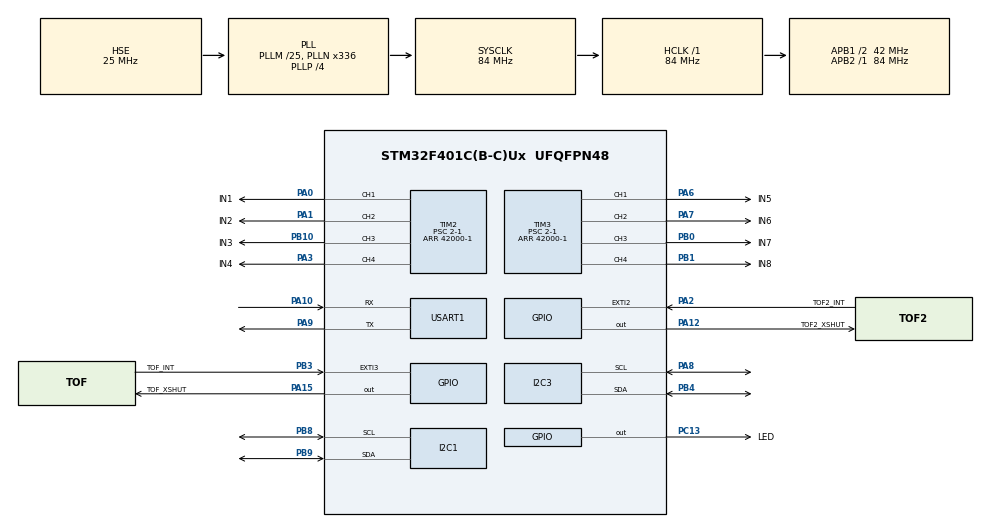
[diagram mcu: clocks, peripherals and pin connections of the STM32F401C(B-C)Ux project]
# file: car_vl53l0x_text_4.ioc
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I2C1.I2C_Mode=I2C_Fast
I2C3.I2C_Mode=I2C_Fast
Mcu.Family=STM32F4
Mcu.Name=STM32F401C(B-C)Ux
Mcu.Package=UFQFPN48
NVIC.EXTI2_IRQn=true\:1\:0\:true\:false\:true\:true\:true
NVIC.EXTI3_IRQn=true\:2\:0\:true\:true\:true\:1\:true\:true
NVIC.I2C1_ER_IRQn=true\:0\:0\:false\:false\:true\:true\:true
NVIC.I2C1_EV_IRQn=true\:0\:0\:false\:false\:true\:true\:true
NVIC.I2C3_ER_IRQn=true\:0\:0\:false\:false\:true\:true\:true
NVIC.I2C3_EV_IRQn=true\:0\:0\:false\:false\:true\:true\:true
NVIC.PriorityGroup=NVIC_PRIORITYGROUP_4
NVIC.TIM2_IRQn=true\:0\:0\:false\:false\:true\:true\:true
NVIC.TIM3_IRQn=true\:0\:0\:false\:false\:true\:true\:true
NVIC.USART1_IRQn=true\:0\:0\:false\:false\:true\:true\:true
PA0-WKUP.GPIO_Label=IN1
PA0-WKUP.GPIO_PuPd=GPIO_PULLUP
PA0-WKUP.Signal=S_TIM2_CH1_ETR
PA1.GPIO_Label=IN2
PA1.GPIO_PuPd=GPIO_PULLUP
PA1.Signal=S_TIM2_CH2
PA10.Mode=Asynchronous
PA10.Signal=USART1_RX
PA12.GPIO_Label=TOF2_XSHUT
PA12.Signal=GPIO_Output
PA13.Mode=Serial_Wire
PA13.Signal=SYS_JTMS-SWDIO
PA14.Mode=Serial_Wire
PA14.Signal=SYS_JTCK-SWCLK
PA15.GPIO_Label=TOF_XSHUT
PA15.Signal=GPIO_Output
PA2.GPIO_Label=TOF2_INT
PA2.GPIO_ModeDefaultEXTI=GPIO_MODE_IT_FALLING
PA2.GPIO_PuPd=GPIO_PULLUP
PA2.Signal=GPXTI2
PA3.GPIO_Label=IN4
PA3.GPIO_PuPd=GPIO_PULLUP
PA3.Signal=S_TIM2_CH4
PA6.GPIO_Label=IN5
PA6.GPIO_PuPd=GPIO_PULLUP
PA6.Signal=S_TIM3_CH1
PA7.GPIO_Label=IN6
PA7.GPIO_PuPd=GPIO_PULLUP
PA7.Signal=S_TIM3_CH2
PA8.Mode=I2C
PA8.Signal=I2C3_SCL
PA9.Mode=Asynchronous
PA9.Signal=USART1_TX
PB0.GPIO_Label=IN7
PB0.GPIO_PuPd=GPIO_PULLUP
PB0.Signal=S_TIM3_CH3
PB1.GPIO_Label=IN8
PB1.GPIO_PuPd=GPIO_PULLUP
PB1.Signal=S_TIM3_CH4
PB10.GPIO_Label=IN3
PB10.GPIO_PuPd=GPIO_PULLUP
PB10.Signal=S_TIM2_CH3
PB3.GPIO_Label=TOF_INT
PB3.GPIO_ModeDefaultEXTI=GPIO_MODE_IT_FALLING
PB3.GPIO_PuPd=GPIO_PULLUP
PB3.Signal=GPXTI3
PB4.Mode=I2C
PB4.Signal=I2C3_SDA
PB8.Mode=I2C
PB8.Signal=I2C1_SCL
PB9.Mode=I2C
PB9.Signal=I2C1_SDA
PC13-ANTI_TAMP.GPIO_Label=LED
PC13-ANTI_TAMP.Signal=GPIO_Output
PH0\ -\ OSC_IN.Mode=HSE-External-Oscillator
PH0\ -\ OSC_IN.Signal=RCC_OSC_IN
PH1\ -\ OSC_OUT.Mode=HSE-External-Oscillator
PH1\ -\ OSC_OUT.Signal=RCC_OSC_OUT
ProjectManager.HeapSize=0x200
ProjectManager.StackSize=0x400
ProjectManager.TargetToolchain=STM32CubeIDE
RCC.48MHZClocksFreq_Value=48000000
RCC.AHBFreq_Value=84000000
RCC.APB1CLKDivider=RCC_HCLK_DIV2
RCC.APB1Freq_Value=42000000
RCC.APB1TimFreq_Value=84000000
RCC.APB2Freq_Value=84000000
RCC.APB2TimFreq_Value=84000000
RCC.CortexFreq_Value=84000000
RCC.HCLKFreq_Value=84000000
RCC.HSE_VALUE=25000000
RCC.HSI_VALUE=16000000
RCC.LSE_VALUE=32768
RCC.PLLM=25
RCC.PLLN=336
RCC.PLLP=RCC_PLLP_DIV4
RCC.PLLQ=7
RCC.PLLSourceVirtual=RCC_PLLSOURCE_HSE
RCC.SYSCLKFreq_VALUE=84000000
RCC.SYSCLKSource=RCC_SYSCLKSOURCE_PLLCLK
RCC.VCOOutputFreq_Value=336000000
SH.S_TIM2_CH1_ETR.0=TIM2_CH1,PWM Generation1 CH1
SH.S_TIM2_CH2.0=TIM2_CH2,PWM Generation2 CH2
SH.S_TIM2_CH3.0=TIM2_CH3,PWM Generation3 CH3
SH.S_TIM2_CH4.0=TIM2_CH4,PWM Generation4 CH4
SH.S_TIM3_CH1.0=TIM3_CH1,PWM Generation1 CH1
SH.S_TIM3_CH2.0=TIM3_CH2,PWM Generation2 CH2
SH.S_TIM3_CH3.0=TIM3_CH3,PWM Generation3 CH3
SH.S_TIM3_CH4.0=TIM3_CH4,PWM Generation4 CH4
TIM2.Channel-PWM\ Generation1\ CH1=TIM_CHANNEL_1
TIM2.Channel-PWM\ Generation2\ CH2=TIM_CHANNEL_2
TIM2.Channel-PWM\ Generation3\ CH3=TIM_CHANNEL_3
TIM2.Channel-PWM\ Generation4\ CH4=TIM_CHANNEL_4
TIM2.Period=42000-1
TIM2.Prescaler=2-1
TIM3.Channel-PWM\ Generation1\ CH1=TIM_CHANNEL_1
TIM3.Channel-PWM\ Generation2\ CH2=TIM_CHANNEL_2
TIM3.Channel-PWM\ Generation3\ CH3=TIM_CHANNEL_3
TIM3.Channel-PWM\ Generation4\ CH4=TIM_CHANNEL_4
TIM3.Period=42000-1
TIM3.Prescaler=2-1
USART1.VirtualMode=VM_ASYNC
board=custom

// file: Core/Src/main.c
/* USER CODE BEGIN Header */
/**
 ******************************************************************************
 * @file           : main.c
 * @brief          : Main program body
 ******************************************************************************
 * @attention
 *
 * <h2><center>&copy; Copyright (c) 2020 STMicroelectronics.
 * All rights reserved.</center></h2>
 *
 * This software component is licensed by ST under BSD 3-Clause license,
 * the "License"; You may not use this file except in compliance with the
 * License. You may obtain a copy of the License at:
 *                        opensource.org/licenses/BSD-3-Clause
 *
 ******************************************************************************
 *
 *  Created on: 12.01.2019
 *      Author: Mateusz Salamon
 *		 www.msalamon.pl
 *
 *      Website: https://msalamon.pl/obsluga-przerwaniowa-czujnika-laserowego-vl53l0x/
 *      GitHub:  https://github.com/lamik/VL53L0X_API_INT_STM32_HAL
 *      Contact: mateusz@msalamon.pl
 */
/* USER CODE END Header */
#include "main.h"
#include "i2c.h"
#include "tim.h"
#include "usart.h"
#include "gpio.h"

/* USER CODE BEGIN Includes */
#include "vl53l0x_api.h"
#include "stdio.h"
/* USER CODE END Includes */

/* USER CODE BEGIN PV */
uint8_t Message[64];
uint8_t MessageLen;
uint8_t answer = 0;
uint8_t isAnswerReceived = 0;

VL53L0X_RangingMeasurementData_t RangingData;
VL53L0X_RangingMeasurementData_t RangingData_2;
VL53L0X_Dev_t vl53l0x_c; // center module
VL53L0X_DEV Dev = &vl53l0x_c;
VL53L0X_Dev_t vl53l0x_c_2; // center module
VL53L0X_DEV Dev_2 = &vl53l0x_c_2;

void My_receive(void);
void My_straight(void); // 直走
void My_left_p(void);	// 左平移
void My_right_p(void);
void My_turn_left(void); // 左转
void My_turn_right(void);
void My_left_vo(void); // 逆时针
void My_right_vo(void);
void My_stop(void); // 停
void My_back(void); // 后退

volatile uint8_t TofDataRead;
volatile uint8_t TofDataRead_2;
int cz = 0;
int distance_1 = 0;
int distance_2 = 0;
int bz = 0;

int speed_m = 15000;
int speed_sizing = 9000;
int maxsizing = 1100;
int minisizing = 1050;
/* USER CODE END PV */

void SystemClock_Config(void);
static void MX_NVIC_Init(void);

int main(void)
{
	/* USER CODE BEGIN 1 */
	//
	// VL53L0X initialisation stuff
	//
	uint32_t refSpadCount;
	uint8_t isApertureSpads;
	uint8_t VhvSettings;
	uint8_t PhaseCal;

	uint32_t refSpadCount_2;
	uint8_t isApertureSpads_2;
	uint8_t VhvSettings_2;
	uint8_t PhaseCal_2;

	/* USER CODE END 1 */

	/* MCU Configuration--------------------------------------------------------*/

	/* Reset of all peripherals, Initializes the Flash interface and the Systick. */
	HAL_Init();

	/* Configure the system clock */
	SystemClock_Config();

	/* Initialize all configured peripherals */
	MX_GPIO_Init();
	MX_I2C1_Init();
	MX_USART1_UART_Init();
	MX_I2C3_Init();
	MX_TIM2_Init();
	MX_TIM3_Init();

	/* Initialize interrupts */
	MX_NVIC_Init();
	/* USER CODE BEGIN 2 */
	//  MessageLen = sprintf((char*)Message, "msalamon.pl VL53L0X Continuous mode\n\r");
	//  HAL_UART_Transmit(&huart1, Message, MessageLen, 100);

	Dev->I2cHandle = &hi2c1;
	Dev->I2cDevAddr = 0x52;
	Dev_2->I2cHandle = &hi2c3;
	Dev_2->I2cDevAddr = 0x52;

	HAL_GPIO_WritePin(TOF2_XSHUT_GPIO_Port, TOF2_XSHUT_Pin, GPIO_PIN_RESET); // Disable XSHUT
	HAL_Delay(20);
	HAL_GPIO_WritePin(TOF2_XSHUT_GPIO_Port, TOF2_XSHUT_Pin, GPIO_PIN_SET); // Enable XSHUT
	HAL_Delay(20);

	HAL_NVIC_DisableIRQ(EXTI2_IRQn);

	VL53L0X_WaitDeviceBooted(Dev_2);
	VL53L0X_DataInit(Dev_2);
	VL53L0X_StaticInit(Dev_2);
	VL53L0X_PerformRefCalibration(Dev_2, &VhvSettings_2, &PhaseCal_2);
	VL53L0X_PerformRefSpadManagement(Dev_2, &refSpadCount_2, &isApertureSpads_2);
	VL53L0X_SetDeviceMode(Dev_2, VL53L0X_DEVICEMODE_CONTINUOUS_RANGING);
	VL53L0X_StartMeasurement(Dev_2);

	HAL_NVIC_EnableIRQ(EXTI2_IRQn);

	//     VL53L0X_SetDeviceAddress(Dev_2, 0x54);
	//
	//    HAL_NVIC_DisableIRQ(EXTI2_IRQn);
	//
	//          VL53L0X_WaitDeviceBooted( Dev_2 );
	//          VL53L0X_DataInit( Dev_2 );
	//          VL53L0X_StaticInit( Dev_2 );
	//          VL53L0X_PerformRefCalibration(Dev_2, &VhvSettings_2, &PhaseCal_2);
	//          VL53L0X_PerformRefSpadManagement(Dev_2, &refSpadCount_2, &isApertureSpads_2);
	//          VL53L0X_SetDeviceMode(Dev_2, VL53L0X_DEVICEMODE_CONTINUOUS_RANGING);
	//          VL53L0X_StartMeasurement(Dev_2);
	//          //HAL_NVIC_EnableIRQ(EXTI2_IRQn);
	//
	//
	//
	//
	HAL_GPIO_WritePin(TOF_XSHUT_GPIO_Port, TOF_XSHUT_Pin, GPIO_PIN_RESET); // Disable XSHUT
	HAL_Delay(20);
	HAL_GPIO_WritePin(TOF_XSHUT_GPIO_Port, TOF_XSHUT_Pin, GPIO_PIN_SET); // Enable XSHUT
	HAL_Delay(20);

	//
	// VL53L0X init for Single Measurement
	//

	HAL_NVIC_DisableIRQ(EXTI3_IRQn);

	VL53L0X_WaitDeviceBooted(Dev);
	VL53L0X_DataInit(Dev);
	VL53L0X_StaticInit(Dev);
	VL53L0X_PerformRefCalibration(Dev, &VhvSettings, &PhaseCal);
	VL53L0X_PerformRefSpadManagement(Dev, &refSpadCount, &isApertureSpads);
	VL53L0X_SetDeviceMode(Dev, VL53L0X_DEVICEMODE_CONTINUOUS_RANGING);
	VL53L0X_StartMeasurement(Dev);

	HAL_NVIC_EnableIRQ(EXTI3_IRQn);

	// 电机部分
	if (HAL_TIM_PWM_Start(&htim2, TIM_CHANNEL_1) != HAL_OK)
		Error_Handler();
	if (HAL_TIM_PWM_Start(&htim2, TIM_CHANNEL_2) != HAL_OK)
		Error_Handler();
	if (HAL_TIM_PWM_Start(&htim2, TIM_CHANNEL_3) != HAL_OK)
		Error_Handler();
	if (HAL_TIM_PWM_Start(&htim2, TIM_CHANNEL_4) != HAL_OK)
		Error_Handler();
	if (HAL_TIM_PWM_Start(&htim3, TIM_CHANNEL_1) != HAL_OK)
		Error_Handler();
	if (HAL_TIM_PWM_Start(&htim3, TIM_CHANNEL_2) != HAL_OK)
		Error_Handler();
	if (HAL_TIM_PWM_Start(&htim3, TIM_CHANNEL_3) != HAL_OK)
		Error_Handler();
	if (HAL_TIM_PWM_Start(&htim3, TIM_CHANNEL_4) != HAL_OK)
		Error_Handler();

	/* USER CODE END 2 */

	/* Infinite loop */
	/* USER CODE BEGIN WHILE */
	while (1)
	{

		// if (TofDataRead == 1)
		// {
		// 	MessageLen = sprintf((char *)Message, "Measured distance: %i\n\r", RangingData.RangeMilliMeter);
		// 	HAL_UART_Transmit(&huart1, Message, MessageLen, 100);
		// 	TofDataRead = 0;
		// 	HAL_Delay(500);
		// }
		//
		//
		//
		// if (TofDataRead_2 == 1)
		// {
		// 	MessageLen = sprintf((char *)Message, "Measured distance2: %i\n\r", RangingData_2.RangeMilliMeter + 40);
		// 	HAL_UART_Transmit(&huart1, Message, MessageLen, 100);
		// 	TofDataRead_2 = 0;
		// 	HAL_Delay(500);
		// }
		// RangingData.RangeMilliMeter

		//	  while(1)
		//	  {
		//
		//		  distance_1=RangingData.RangeMilliMeter;
		//		  distance_2=RangingData_2.RangeMilliMeter+35;
		//		  cz=distance_1-distance_2;
		//
		//		  if(distance_1>maxsizing)//&&distance_2>maxsizing
		//		  {
		//			  MessageLen = sprintf((char*)Message, "超出距离20厘米\n\r");
		//			  HAL_UART_Transmit(&huart1, Message, MessageLen, 100);
		//			  HAL_Delay(50);//左平移调�?
		//	          __HAL_TIM_SET_COMPARE(&htim2,TIM_CHANNEL_1,speed_m);//左移
		//	          __HAL_TIM_SET_COMPARE(&htim2,TIM_CHANNEL_2,0);//�?1
		//	          __HAL_TIM_SET_COMPARE(&htim2,TIM_CHANNEL_3,speed_m);
		//	          __HAL_TIM_SET_COMPARE(&htim2,TIM_CHANNEL_4,0);//�?2
		//	          __HAL_TIM_SET_COMPARE(&htim3,TIM_CHANNEL_1,0);
		//	          __HAL_TIM_SET_COMPARE(&htim3,TIM_CHANNEL_2,speed_m);//�?3
		//	          __HAL_TIM_SET_COMPARE(&htim3,TIM_CHANNEL_3,0);
		//	          __HAL_TIM_SET_COMPARE(&htim3,TIM_CHANNEL_4,speed_m);//�?4
		//
		//
		//		  }
		// else if (distance_1 < minisizing) //&&distance_2<minisizing
		// {
		// 	__HAL_TIM_SET_COMPARE(&htim2, TIM_CHANNEL_1, 0);	   //右移
		// 	__HAL_TIM_SET_COMPARE(&htim2, TIM_CHANNEL_2, speed_m); //�?1
		// 	__HAL_TIM_SET_COMPARE(&htim2, TIM_CHANNEL_3, 0);
		// 	__HAL_TIM_SET_COMPARE(&htim2, TIM_CHANNEL_4, speed_m); //�?2
		// 	__HAL_TIM_SET_COMPARE(&htim3, TIM_CHANNEL_1, speed_m);
		// 	__HAL_TIM_SET_COMPARE(&htim3, TIM_CHANNEL_2, 0); //�?3
		// 	__HAL_TIM_SET_COMPARE(&htim3, TIM_CHANNEL_3, speed_m);
		// 	__HAL_TIM_SET_COMPARE(&htim3, TIM_CHANNEL_4, 0); //�?4
		// 	HAL_Delay(50);
		// }
		// if (cz < -15 && cz > -40)
		//		  {
		//			  MessageLen = sprintf((char*)Message, "车辆�?左转\n\r");
		//			  HAL_UART_Transmit(&huart1, Message, MessageLen, 100);
		//			  //HAL_Delay(500);//车辆�?左走
		////	      __HAL_TIM_SET_COMPARE(&htim2,TIM_CHANNEL_1,0);//左转�?
		////	      __HAL_TIM_SET_COMPARE(&htim2,TIM_CHANNEL_2,speed_sizing);//�?1
		////	      __HAL_TIM_SET_COMPARE(&htim2,TIM_CHANNEL_3,speed_sizing);
		////	      __HAL_TIM_SET_COMPARE(&htim2,TIM_CHANNEL_4,0);//�?2
		////	      __HAL_TIM_SET_COMPARE(&htim3,TIM_CHANNEL_1,0);
		////	      __HAL_TIM_SET_COMPARE(&htim3,TIM_CHANNEL_2,speed_m);//�?3
		////	      __HAL_TIM_SET_COMPARE(&htim3,TIM_CHANNEL_3,speed_m);
		////	      __HAL_TIM_SET_COMPARE(&htim3,TIM_CHANNEL_4,0);//�?4
		//
		//
		//	          __HAL_TIM_SET_COMPARE(&htim2,TIM_CHANNEL_1,0);//逆时针走
		//		      __HAL_TIM_SET_COMPARE(&htim2,TIM_CHANNEL_2,speed_m);//�?1
		//		      __HAL_TIM_SET_COMPARE(&htim2,TIM_CHANNEL_3,speed_m);
		//		      __HAL_TIM_SET_COMPARE(&htim2,TIM_CHANNEL_4,0);//�?2
		//		      __HAL_TIM_SET_COMPARE(&htim3,TIM_CHANNEL_1,speed_m);
		//		      __HAL_TIM_SET_COMPARE(&htim3,TIM_CHANNEL_2,0);//�?3
		//		      __HAL_TIM_SET_COMPARE(&htim3,TIM_CHANNEL_3,0);
		//		      __HAL_TIM_SET_COMPARE(&htim3,TIM_CHANNEL_4,speed_m);//�?4
		//			  HAL_Delay(100);
		//		  }
		//		  else if(cz>15&&cz<40)
		//		  {
		//		  	  MessageLen = sprintf((char*)Message, "车辆�?右转\n\r");
		//		  	  HAL_UART_Transmit(&huart1, Message, MessageLen, 100);
		//		  	  //HAL_Delay(500);//车辆右转
		////	  		      __HAL_TIM_SET_COMPARE(&htim2,TIM_CHANNEL_1,0);//右转�?
		////	  		      __HAL_TIM_SET_COMPARE(&htim2,TIM_CHANNEL_2,speed_m);//�?1
		////	  		      __HAL_TIM_SET_COMPARE(&htim2,TIM_CHANNEL_3,speed_m);
		////	  		      __HAL_TIM_SET_COMPARE(&htim2,TIM_CHANNEL_4,0);//�?2
		////	  		      __HAL_TIM_SET_COMPARE(&htim3,TIM_CHANNEL_1,0);
		////	  		      __HAL_TIM_SET_COMPARE(&htim3,TIM_CHANNEL_2,14000);//�?3
		////	  		      __HAL_TIM_SET_COMPARE(&htim3,TIM_CHANNEL_3,14000);
		////	  		      __HAL_TIM_SET_COMPARE(&htim3,TIM_CHANNEL_4,0);//�?4
		//
		//	          __HAL_TIM_SET_COMPARE(&htim2,TIM_CHANNEL_1,(speed_m+2000));//顺时针走
		//		      __HAL_TIM_SET_COMPARE(&htim2,TIM_CHANNEL_2,0);//�?1
		//		      __HAL_TIM_SET_COMPARE(&htim2,TIM_CHANNEL_3,0);
		//		      __HAL_TIM_SET_COMPARE(&htim2,TIM_CHANNEL_4,(speed_m+2000));//�?2
		//		      __HAL_TIM_SET_COMPARE(&htim3,TIM_CHANNEL_1,0);
		//		      __HAL_TIM_SET_COMPARE(&htim3,TIM_CHANNEL_2,(speed_m+2000));//�?3
		//		      __HAL_TIM_SET_COMPARE(&htim3,TIM_CHANNEL_3,(speed_m+2000));
		//		      __HAL_TIM_SET_COMPARE(&htim3,TIM_CHANNEL_4,0);//�?4
		//			  HAL_Delay(100);
		//		  }
		//		  else
		//		  {
		//			  MessageLen = sprintf((char*)Message, "车辆直走\n\r");
		//			 HAL_UART_Transmit(&huart1, Message, MessageLen, 100);
		//			 //HAL_Delay(50);
		//		      __HAL_TIM_SET_COMPARE(&htim2,TIM_CHANNEL_1,0);//停止
		//		      __HAL_TIM_SET_COMPARE(&htim2,TIM_CHANNEL_2,0);//�?1
		//		      __HAL_TIM_SET_COMPARE(&htim2,TIM_CHANNEL_3,0);
		//		      __HAL_TIM_SET_COMPARE(&htim2,TIM_CHANNEL_4,0);//�?2
		//		      __HAL_TIM_SET_COMPARE(&htim3,TIM_CHANNEL_1,0);
		//		      __HAL_TIM_SET_COMPARE(&htim3,TIM_CHANNEL_2,0);//�?3
		//		      __HAL_TIM_SET_COMPARE(&htim3,TIM_CHANNEL_3,0);
		//		      __HAL_TIM_SET_COMPARE(&htim3,TIM_CHANNEL_4,0);//�?4
		//		      HAL_Delay(50);
		//		      __HAL_TIM_SET_COMPARE(&htim2,TIM_CHANNEL_1,0);//直走
		//		      __HAL_TIM_SET_COMPARE(&htim2,TIM_CHANNEL_2,speed_sizing);//�?1
		//		      __HAL_TIM_SET_COMPARE(&htim2,TIM_CHANNEL_3,speed_sizing);
		//		      __HAL_TIM_SET_COMPARE(&htim2,TIM_CHANNEL_4,0);//�?2
		//		      __HAL_TIM_SET_COMPARE(&htim3,TIM_CHANNEL_1,0);
		//		      __HAL_TIM_SET_COMPARE(&htim3,TIM_CHANNEL_2,(speed_sizing+2000));//�?3
		//		      __HAL_TIM_SET_COMPARE(&htim3,TIM_CHANNEL_3,(speed_sizing+2000));
		//		      __HAL_TIM_SET_COMPARE(&htim3,TIM_CHANNEL_4,0);//�?4
		//		  }
		//	  }

		//
		//
		//
		////距离调试
		//		MessageLen = sprintf((char*)Message, "Measured distance: %i\n\rMeasured distance2: %i\n\r", RangingData.RangeMilliMeter,RangingData_2.RangeMilliMeter+40);
		//		HAL_UART_Transmit(&huart1, Message, MessageLen, 100);
		//		HAL_Delay(500);
		//
		//		cz=RangingData.RangeMilliMeter-(RangingData_2.RangeMilliMeter+25);
		//
		//		MessageLen = sprintf((char*)Message, "差�?�为: %i\n\r",cz);
		//		HAL_UART_Transmit(&huart1, Message, MessageLen, 100);
		//		HAL_Delay(300);
		//

		//		  		      __HAL_TIM_SET_COMPARE(&htim2,TIM_CHANNEL_1,0);//右移
		//		  		      __HAL_TIM_SET_COMPARE(&htim2,TIM_CHANNEL_2,speed_m);//�?1
		//		  		      __HAL_TIM_SET_COMPARE(&htim2,TIM_CHANNEL_3,0);
		//		  		      __HAL_TIM_SET_COMPARE(&htim2,TIM_CHANNEL_4,speed_m);//�?2
		//		  		      __HAL_TIM_SET_COMPARE(&htim3,TIM_CHANNEL_1,speed_m);
		//		  		      __HAL_TIM_SET_COMPARE(&htim3,TIM_CHANNEL_2,0);//�?3
		//		  		      __HAL_TIM_SET_COMPARE(&htim3,TIM_CHANNEL_3,speed_m);
		//		  		      __HAL_TIM_SET_COMPARE(&htim3,TIM_CHANNEL_4,0);//�?4
		//		  		    HAL_Delay(3000);
		//
		//		  		    		      __HAL_TIM_SET_COMPARE(&htim2,TIM_CHANNEL_1,0);//停止
		//		  		    		      __HAL_TIM_SET_COMPARE(&htim2,TIM_CHANNEL_2,0);//�?1
		//		  		    		      __HAL_TIM_SET_COMPARE(&htim2,TIM_CHANNEL_3,0);
		//		  		    		      __HAL_TIM_SET_COMPARE(&htim2,TIM_CHANNEL_4,0);//�?2
		//		  		    		      __HAL_TIM_SET_COMPARE(&htim3,TIM_CHANNEL_1,0);
		//		  		    		      __HAL_TIM_SET_COMPARE(&htim3,TIM_CHANNEL_2,0);//�?3
		//		  		    		      __HAL_TIM_SET_COMPARE(&htim3,TIM_CHANNEL_3,0);
		//		  		    		      __HAL_TIM_SET_COMPARE(&htim3,TIM_CHANNEL_4,0);//�?4
		//		  		    		    HAL_Delay(5000);

		//	  		      __HAL_TIM_SET_COMPARE(&htim2,TIM_CHANNEL_1,0);//右转�?
		//	  		      __HAL_TIM_SET_COMPARE(&htim2,TIM_CHANNEL_2,speed_sizing);//�?1
		//	  		      __HAL_TIM_SET_COMPARE(&htim2,TIM_CHANNEL_3,speed_sizing);
		//	  		      __HAL_TIM_SET_COMPARE(&htim2,TIM_CHANNEL_4,0);//�?2
		//	  		      __HAL_TIM_SET_COMPARE(&htim3,TIM_CHANNEL_1,0);
		//	  		      __HAL_TIM_SET_COMPARE(&htim3,TIM_CHANNEL_2,speed_m);//�?3
		//	  		      __HAL_TIM_SET_COMPARE(&htim3,TIM_CHANNEL_3,speed_m);
		//	  		      __HAL_TIM_SET_COMPARE(&htim3,TIM_CHANNEL_4,0);//�?4

		//	      __HAL_TIM_SET_COMPARE(&htim2,TIM_CHANNEL_1,0);//左转�?
		//	      __HAL_TIM_SET_COMPARE(&htim2,TIM_CHANNEL_2,speed_m);//�?1
		//	      __HAL_TIM_SET_COMPARE(&htim2,TIM_CHANNEL_3,speed_m);
		//	      __HAL_TIM_SET_COMPARE(&htim2,TIM_CHANNEL_4,0);//�?2
		//	      __HAL_TIM_SET_COMPARE(&htim3,TIM_CHANNEL_1,0);
		//	      __HAL_TIM_SET_COMPARE(&htim3,TIM_CHANNEL_2,speed_sizing);//�?3
		//	      __HAL_TIM_SET_COMPARE(&htim3,TIM_CHANNEL_3,speed_sizing);
		//	      __HAL_TIM_SET_COMPARE(&htim3,TIM_CHANNEL_4,0);//�?4

		//		__HAL_TIM_SET_COMPARE(&htim2,TIM_CHANNEL_1,0);//直走
		//		__HAL_TIM_SET_COMPARE(&htim2,TIM_CHANNEL_2,speed_m);//�???1
		// HAL_Delay(4000);
		//	  __HAL_TIM_SET_COMPARE(&htim2,TIM_CHANNEL_1,0);//直走
		//	  __HAL_TIM_SET_COMPARE(&htim2,TIM_CHANNEL_2,speed_m);//�?1
		//	  __HAL_TIM_SET_COMPARE(&htim2,TIM_CHANNEL_3,0);
		//	  __HAL_TIM_SET_COMPARE(&htim2,TIM_CHANNEL_4,speed_m);//�?2
		//	  __HAL_TIM_SET_COMPARE(&htim3,TIM_CHANNEL_1,0);
		//	  __HAL_TIM_SET_COMPARE(&htim3,TIM_CHANNEL_2,speed_m);//�?3
		//	  __HAL_TIM_SET_COMPARE(&htim3,TIM_CHANNEL_3,0);
		//	  __HAL_TIM_SET_COMPARE(&htim3,TIM_CHANNEL_4,speed_m);//�?4
		//	  HAL_Delay(4000);

		//      __HAL_TIM_SET_COMPARE(&htim2,TIM_CHANNEL_1,0);//右平�?
		//  	  __HAL_TIM_SET_COMPARE(&htim2,TIM_CHANNEL_2,speed_m);//�?1
		//  	  __HAL_TIM_SET_COMPARE(&htim2,TIM_CHANNEL_3,speed_m);
		//  	  __HAL_TIM_SET_COMPARE(&htim2,TIM_CHANNEL_4,0);//�?2
		//  	  __HAL_TIM_SET_COMPARE(&htim3,TIM_CHANNEL_1,0);
		//  	  __HAL_TIM_SET_COMPARE(&htim3,TIM_CHANNEL_2,speed_m);//�?3
		//  	  __HAL_TIM_SET_COMPARE(&htim3,TIM_CHANNEL_3,speed_m);
		//  	  __HAL_TIM_SET_COMPARE(&htim3,TIM_CHANNEL_4,0);//�?4
		//
		//      HAL_Delay(3000);
		//
		//      __HAL_TIM_SET_COMPARE(&htim2,TIM_CHANNEL_1,speed_m);//左平�?
		//      __HAL_TIM_SET_COMPARE(&htim2,TIM_CHANNEL_2,0);//�?1
		//      __HAL_TIM_SET_COMPARE(&htim2,TIM_CHANNEL_3,0);
		//      __HAL_TIM_SET_COMPARE(&htim2,TIM_CHANNEL_4,speed_m);//�?2
		//      __HAL_TIM_SET_COMPARE(&htim3,TIM_CHANNEL_1,speed_m);
		//      __HAL_TIM_SET_COMPARE(&htim3,TIM_CHANNEL_2,0);//�?3
		//      __HAL_TIM_SET_COMPARE(&htim3,TIM_CHANNEL_3,0);
		//      __HAL_TIM_SET_COMPARE(&htim3,TIM_CHANNEL_4,speed_m);//�?4

		//      __HAL_TIM_SET_COMPARE(&htim2,TIM_CHANNEL_1,0);//左转�?  校准电压差后数�??
		//      __HAL_TIM_SET_COMPARE(&htim2,TIM_CHANNEL_2,speed_m);//�?1
		//      __HAL_TIM_SET_COMPARE(&htim2,TIM_CHANNEL_3,speed_m);
		//      __HAL_TIM_SET_COMPARE(&htim2,TIM_CHANNEL_4,0);//�?2
		//      __HAL_TIM_SET_COMPARE(&htim3,TIM_CHANNEL_1,0);
		//      __HAL_TIM_SET_COMPARE(&htim3,TIM_CHANNEL_2,10000);//�?3
		//      __HAL_TIM_SET_COMPARE(&htim3,TIM_CHANNEL_3,10000);
		//      __HAL_TIM_SET_COMPARE(&htim3,TIM_CHANNEL_4,0);//�?4

		// __HAL_TIM_SET_COMPARE(&htim2, TIM_CHANNEL_1, 0);			//逆时针走
		// __HAL_TIM_SET_COMPARE(&htim2, TIM_CHANNEL_2, speed_sizing); //�?1
		// __HAL_TIM_SET_COMPARE(&htim2, TIM_CHANNEL_3, speed_sizing);
		// __HAL_TIM_SET_COMPARE(&htim2, TIM_CHANNEL_4, 0); //�?2
		// __HAL_TIM_SET_COMPARE(&htim3, TIM_CHANNEL_1, speed_sizing);
		// __HAL_TIM_SET_COMPARE(&htim3, TIM_CHANNEL_2, 0); //�?3
		// __HAL_TIM_SET_COMPARE(&htim3, TIM_CHANNEL_3, 0);
		// __HAL_TIM_SET_COMPARE(&htim3, TIM_CHANNEL_4, speed_sizing); //�?4

		// __HAL_TIM_SET_COMPARE(&htim2, TIM_CHANNEL_1, speed_sizing); //顺时针走
		// __HAL_TIM_SET_COMPARE(&htim2, TIM_CHANNEL_2, 0);			//�?1
		// __HAL_TIM_SET_COMPARE(&htim2, TIM_CHANNEL_3, 0);
		// __HAL_TIM_SET_COMPARE(&htim2, TIM_CHANNEL_4, speed_sizing); //�?2
		// __HAL_TIM_SET_COMPARE(&htim3, TIM_CHANNEL_1, 0);
		// __HAL_TIM_SET_COMPARE(&htim3, TIM_CHANNEL_2, speed_sizing); //�?3
		// __HAL_TIM_SET_COMPARE(&htim3, TIM_CHANNEL_3, speed_sizing);
		// __HAL_TIM_SET_COMPARE(&htim3, TIM_CHANNEL_4, 0); //�?4

		/*HAL_GPIO_WritePin(LED_GPIO_Port, LED_Pin, RESET);
				HAL_Delay(5000);
			  HAL_GPIO_WritePin(LED_GPIO_Port, LED_Pin, SET);
						HAL_Delay(5000);*/

		HAL_UART_Receive_IT(&huart1, &answer, 1); // 中断接收函数
		while (isAnswerReceived == 0)
		{
			My_stop();
		}					  // waiting for answer
		isAnswerReceived = 0; // answer received, reset flag

		if (answer == '5' || answer == '6') // 对接收字符进行判断
		{
			My_straight();
			HAL_Delay(6000);
			bz = answer;
		}

		if (answer == '8')
		{
			My_straight();
			HAL_Delay(2300);

			if (bz == '5')
			{
				My_left_vo();
				HAL_Delay(1575);
				My_straight();
				HAL_Delay(4050);
			}
			else if (bz == '6')
			{
				My_right_vo();
				HAL_Delay(1575);
				My_straight();
				HAL_Delay(4050);
			}
		}

		if (answer == '9')
		{
			My_right_vo();
			HAL_Delay(3000);

			if (bz == '5')
			{
				My_straight();
				HAL_Delay(4050);
				My_right_vo();
				HAL_Delay(1600);
			}
			else if (bz == '6')
			{
				My_straight();
				HAL_Delay(4050);
				My_left_vo();
				HAL_Delay(1600);
			}

			My_straight();
			HAL_Delay(7000);

		} // 小车调试

		//	  if(bz==1)
		//	  {
		//		  My_straight();
		//		  HAL_Delay(5200);
		//		  My_stop();
		//		  HAL_Delay(2000);
		//		  My_straight();
		//		  HAL_Delay(1500);
		//		  My_left_vo();
		//		  HAL_Delay(1050);
		//		  My_straight();
		//		  HAL_Delay(3500);
		//		  bz=0;
		//	  }

		// My_stop();

		/* USER CODE END WHILE */

	}
}

void SystemClock_Config(void)
{
	RCC_OscInitTypeDef RCC_OscInitStruct = {0};
	RCC_ClkInitTypeDef RCC_ClkInitStruct = {0};

	/** Configure the main internal regulator output voltage
	 */
	__HAL_RCC_PWR_CLK_ENABLE();
	__HAL_PWR_VOLTAGESCALING_CONFIG(PWR_REGULATOR_VOLTAGE_SCALE2);
	/** Initializes the RCC Oscillators according to the specified parameters
	 * in the RCC_OscInitTypeDef structure.
	 */
	RCC_OscInitStruct.OscillatorType = RCC_OSCILLATORTYPE_HSE;
	RCC_OscInitStruct.HSEState = RCC_HSE_ON;
	RCC_OscInitStruct.PLL.PLLState = RCC_PLL_ON;
	RCC_OscInitStruct.PLL.PLLSource = RCC_PLLSOURCE_HSE;
	RCC_OscInitStruct.PLL.PLLM = 25;
	RCC_OscInitStruct.PLL.PLLN = 336;
	RCC_OscInitStruct.PLL.PLLP = RCC_PLLP_DIV4;
	RCC_OscInitStruct.PLL.PLLQ = 7;
	if (HAL_RCC_OscConfig(&RCC_OscInitStruct) != HAL_OK)
	{
		Error_Handler();
	}
	/** Initializes the CPU, AHB and APB buses clocks
	 */
	RCC_ClkInitStruct.ClockType = RCC_CLOCKTYPE_HCLK | RCC_CLOCKTYPE_SYSCLK | RCC_CLOCKTYPE_PCLK1 | RCC_CLOCKTYPE_PCLK2;
	RCC_ClkInitStruct.SYSCLKSource = RCC_SYSCLKSOURCE_PLLCLK;
	RCC_ClkInitStruct.AHBCLKDivider = RCC_SYSCLK_DIV1;
	RCC_ClkInitStruct.APB1CLKDivider = RCC_HCLK_DIV2;
	RCC_ClkInitStruct.APB2CLKDivider = RCC_HCLK_DIV1;

	if (HAL_RCC_ClockConfig(&RCC_ClkInitStruct, FLASH_LATENCY_2) != HAL_OK)
	{
		Error_Handler();
	}
}

/**
 * @brief NVIC Configuration.
 * @retval None
 */
static void MX_NVIC_Init(void)
{
	/* EXTI3_IRQn interrupt configuration */
	HAL_NVIC_SetPriority(EXTI3_IRQn, 2, 0);
	HAL_NVIC_EnableIRQ(EXTI3_IRQn);
}

/* USER CODE BEGIN 4 */
void HAL_GPIO_EXTI_Callback(uint16_t GPIO_Pin)
{
	if (GPIO_Pin == TOF_INT_Pin)
	{
		VL53L0X_GetRangingMeasurementData(Dev, &RangingData);
		VL53L0X_ClearInterruptMask(Dev, VL53L0X_REG_SYSTEM_INTERRUPT_GPIO_NEW_SAMPLE_READY);
		TofDataRead = 1;
	}
	else if (GPIO_Pin == TOF2_INT_Pin)
	{
		VL53L0X_GetRangingMeasurementData(Dev_2, &RangingData_2);
		VL53L0X_ClearInterruptMask(Dev_2, VL53L0X_REG_SYSTEM_INTERRUPT_GPIO_NEW_SAMPLE_READY);
		TofDataRead_2 = 1;
	}
}

void My_straight(void)
{
	__HAL_TIM_SET_COMPARE(&htim2, TIM_CHANNEL_1, 0);			// 直走
	__HAL_TIM_SET_COMPARE(&htim2, TIM_CHANNEL_2, speed_sizing); // �?1
	__HAL_TIM_SET_COMPARE(&htim2, TIM_CHANNEL_3, speed_sizing);
	__HAL_TIM_SET_COMPARE(&htim2, TIM_CHANNEL_4, 0); // �?2
	__HAL_TIM_SET_COMPARE(&htim3, TIM_CHANNEL_1, 0);
	__HAL_TIM_SET_COMPARE(&htim3, TIM_CHANNEL_2, speed_sizing + 2400); // �?3
	__HAL_TIM_SET_COMPARE(&htim3, TIM_CHANNEL_3, speed_sizing + 2400);
	__HAL_TIM_SET_COMPARE(&htim3, TIM_CHANNEL_4, 0); // �?4
}

void My_receive(void)
{

	HAL_UART_Receive(&huart1, &answer, 1, HAL_MAX_DELAY);

	if (answer == '1')
	{
		__HAL_TIM_SET_COMPARE(&htim2, TIM_CHANNEL_1, 0);			// 直走
		__HAL_TIM_SET_COMPARE(&htim2, TIM_CHANNEL_2, speed_sizing); // �?1
		__HAL_TIM_SET_COMPARE(&htim2, TIM_CHANNEL_3, speed_sizing);
		__HAL_TIM_SET_COMPARE(&htim2, TIM_CHANNEL_4, 0); // �?2
		__HAL_TIM_SET_COMPARE(&htim3, TIM_CHANNEL_1, 0);
		__HAL_TIM_SET_COMPARE(&htim3, TIM_CHANNEL_2, speed_sizing); // �?3
		__HAL_TIM_SET_COMPARE(&htim3, TIM_CHANNEL_3, speed_sizing);
		__HAL_TIM_SET_COMPARE(&htim3, TIM_CHANNEL_4, 0); // �?4
		HAL_Delay(50);
	}
	else if (answer == '2')
	{
		__HAL_TIM_SET_COMPARE(&htim2, TIM_CHANNEL_1, 0);			// 左转�?
		__HAL_TIM_SET_COMPARE(&htim2, TIM_CHANNEL_2, speed_sizing); // �?1
		__HAL_TIM_SET_COMPARE(&htim2, TIM_CHANNEL_3, speed_sizing);
		__HAL_TIM_SET_COMPARE(&htim2, TIM_CHANNEL_4, 0); // �?2
		__HAL_TIM_SET_COMPARE(&htim3, TIM_CHANNEL_1, 0);
		__HAL_TIM_SET_COMPARE(&htim3, TIM_CHANNEL_2, speed_m); // �?3
		__HAL_TIM_SET_COMPARE(&htim3, TIM_CHANNEL_3, speed_m);
		__HAL_TIM_SET_COMPARE(&htim3, TIM_CHANNEL_4, 0); // �?4
		HAL_Delay(50);
	}
	else if (answer == '3')
	{
		__HAL_TIM_SET_COMPARE(&htim2, TIM_CHANNEL_1, 0);			// 右转�?
		__HAL_TIM_SET_COMPARE(&htim2, TIM_CHANNEL_2, speed_sizing); // �?1
		__HAL_TIM_SET_COMPARE(&htim2, TIM_CHANNEL_3, speed_sizing);
		__HAL_TIM_SET_COMPARE(&htim2, TIM_CHANNEL_4, 0); // �?2
		__HAL_TIM_SET_COMPARE(&htim3, TIM_CHANNEL_1, 0);
		__HAL_TIM_SET_COMPARE(&htim3, TIM_CHANNEL_2, speed_m); // �?3
		__HAL_TIM_SET_COMPARE(&htim3, TIM_CHANNEL_3, speed_m);
		__HAL_TIM_SET_COMPARE(&htim3, TIM_CHANNEL_4, 0); // �?4
		HAL_Delay(50);
	}
	else if (answer == '4')
	{
		__HAL_TIM_SET_COMPARE(&htim2, TIM_CHANNEL_1, speed_m); // 左移
		__HAL_TIM_SET_COMPARE(&htim2, TIM_CHANNEL_2, 0);	   // �?1
		__HAL_TIM_SET_COMPARE(&htim2, TIM_CHANNEL_3, speed_m);
		__HAL_TIM_SET_COMPARE(&htim2, TIM_CHANNEL_4, 0); // �?2
		__HAL_TIM_SET_COMPARE(&htim3, TIM_CHANNEL_1, 0);
		__HAL_TIM_SET_COMPARE(&htim3, TIM_CHANNEL_2, speed_m); // �?3
		__HAL_TIM_SET_COMPARE(&htim3, TIM_CHANNEL_3, 0);
		__HAL_TIM_SET_COMPARE(&htim3, TIM_CHANNEL_4, speed_m); // �?4
		HAL_Delay(50);
	}
	else if (answer == '5')
	{
		__HAL_TIM_SET_COMPARE(&htim2, TIM_CHANNEL_1, 0);	   // 右移
		__HAL_TIM_SET_COMPARE(&htim2, TIM_CHANNEL_2, speed_m); // �?1
		__HAL_TIM_SET_COMPARE(&htim2, TIM_CHANNEL_3, 0);
		__HAL_TIM_SET_COMPARE(&htim2, TIM_CHANNEL_4, speed_m); // �?2
		__HAL_TIM_SET_COMPARE(&htim3, TIM_CHANNEL_1, speed_m);
		__HAL_TIM_SET_COMPARE(&htim3, TIM_CHANNEL_2, 0); // �?3
		__HAL_TIM_SET_COMPARE(&htim3, TIM_CHANNEL_3, speed_m);
		__HAL_TIM_SET_COMPARE(&htim3, TIM_CHANNEL_4, 0); // �?4
		HAL_Delay(50);
	}
	else if (answer == '6')
	{
		__HAL_TIM_SET_COMPARE(&htim2, TIM_CHANNEL_1, 0);			// 逆时针走180�?
		__HAL_TIM_SET_COMPARE(&htim2, TIM_CHANNEL_2, speed_sizing); // �?1
		__HAL_TIM_SET_COMPARE(&htim2, TIM_CHANNEL_3, speed_sizing);
		__HAL_TIM_SET_COMPARE(&htim2, TIM_CHANNEL_4, 0); // �?2
		__HAL_TIM_SET_COMPARE(&htim3, TIM_CHANNEL_1, speed_sizing);
		__HAL_TIM_SET_COMPARE(&htim3, TIM_CHANNEL_2, 0); // �?3
		__HAL_TIM_SET_COMPARE(&htim3, TIM_CHANNEL_3, 0);
		__HAL_TIM_SET_COMPARE(&htim3, TIM_CHANNEL_4, speed_sizing); // �?4
		HAL_Delay(2400);
	}
	else
	{
		__HAL_TIM_SET_COMPARE(&htim2, TIM_CHANNEL_1, 0); // 停止
		__HAL_TIM_SET_COMPARE(&htim2, TIM_CHANNEL_2, 0); // �?1
		__HAL_TIM_SET_COMPARE(&htim2, TIM_CHANNEL_3, 0);
		__HAL_TIM_SET_COMPARE(&htim2, TIM_CHANNEL_4, 0); // �?2
		__HAL_TIM_SET_COMPARE(&htim3, TIM_CHANNEL_1, 0);
		__HAL_TIM_SET_COMPARE(&htim3, TIM_CHANNEL_2, 0); // �?3
		__HAL_TIM_SET_COMPARE(&htim3, TIM_CHANNEL_3, 0);
		__HAL_TIM_SET_COMPARE(&htim3, TIM_CHANNEL_4, 0); // �?4
		HAL_Delay(50);
	}
}

void My_left_p(void)
{
	__HAL_TIM_SET_COMPARE(&htim2, TIM_CHANNEL_1, speed_m); // 左平�?
	__HAL_TIM_SET_COMPARE(&htim2, TIM_CHANNEL_2, 0);	   // �?1
	__HAL_TIM_SET_COMPARE(&htim2, TIM_CHANNEL_3, 0);
	__HAL_TIM_SET_COMPARE(&htim2, TIM_CHANNEL_4, speed_m); // �?2
	__HAL_TIM_SET_COMPARE(&htim3, TIM_CHANNEL_1, speed_m);
	__HAL_TIM_SET_COMPARE(&htim3, TIM_CHANNEL_2, 0); // �?3
	__HAL_TIM_SET_COMPARE(&htim3, TIM_CHANNEL_3, 0);
	__HAL_TIM_SET_COMPARE(&htim3, TIM_CHANNEL_4, speed_m); // �?4
}

void My_right_p(void)
{
	__HAL_TIM_SET_COMPARE(&htim2, TIM_CHANNEL_1, 0);	   // 右移
	__HAL_TIM_SET_COMPARE(&htim2, TIM_CHANNEL_2, speed_m); // �?1
	__HAL_TIM_SET_COMPARE(&htim2, TIM_CHANNEL_3, 0);
	__HAL_TIM_SET_COMPARE(&htim2, TIM_CHANNEL_4, speed_m); // �?2
	__HAL_TIM_SET_COMPARE(&htim3, TIM_CHANNEL_1, speed_m);
	__HAL_TIM_SET_COMPARE(&htim3, TIM_CHANNEL_2, 0); // �?3
	__HAL_TIM_SET_COMPARE(&htim3, TIM_CHANNEL_3, speed_m);
	__HAL_TIM_SET_COMPARE(&htim3, TIM_CHANNEL_4, 0); // �?4
}

void My_turn_left(void)
{
	__HAL_TIM_SET_COMPARE(&htim2, TIM_CHANNEL_1, 0);	   // 左转�?  校准电压差后数�??
	__HAL_TIM_SET_COMPARE(&htim2, TIM_CHANNEL_2, speed_m); // �?1
	__HAL_TIM_SET_COMPARE(&htim2, TIM_CHANNEL_3, speed_m);
	__HAL_TIM_SET_COMPARE(&htim2, TIM_CHANNEL_4, 0); // �?2
	__HAL_TIM_SET_COMPARE(&htim3, TIM_CHANNEL_1, 0);
	__HAL_TIM_SET_COMPARE(&htim3, TIM_CHANNEL_2, speed_m); // �?3
	__HAL_TIM_SET_COMPARE(&htim3, TIM_CHANNEL_3, speed_m);
	__HAL_TIM_SET_COMPARE(&htim3, TIM_CHANNEL_4, 0); // �?4
}

void My_turn_right(void)
{
	__HAL_TIM_SET_COMPARE(&htim2, TIM_CHANNEL_1, 0);			// 右转�?
	__HAL_TIM_SET_COMPARE(&htim2, TIM_CHANNEL_2, speed_sizing); // �?1
	__HAL_TIM_SET_COMPARE(&htim2, TIM_CHANNEL_3, speed_sizing);
	__HAL_TIM_SET_COMPARE(&htim2, TIM_CHANNEL_4, 0); // �?2
	__HAL_TIM_SET_COMPARE(&htim3, TIM_CHANNEL_1, 0);
	__HAL_TIM_SET_COMPARE(&htim3, TIM_CHANNEL_2, speed_m); // �?3
	__HAL_TIM_SET_COMPARE(&htim3, TIM_CHANNEL_3, speed_m);
	__HAL_TIM_SET_COMPARE(&htim3, TIM_CHANNEL_4, 0); // �?4
}

void My_left_vo(void)
{
	__HAL_TIM_SET_COMPARE(&htim2, TIM_CHANNEL_1, 0);			// 逆时针走
	__HAL_TIM_SET_COMPARE(&htim2, TIM_CHANNEL_2, speed_sizing); // �?1
	__HAL_TIM_SET_COMPARE(&htim2, TIM_CHANNEL_3, speed_sizing);
	__HAL_TIM_SET_COMPARE(&htim2, TIM_CHANNEL_4, 0); // �?2
	__HAL_TIM_SET_COMPARE(&htim3, TIM_CHANNEL_1, speed_sizing);
	__HAL_TIM_SET_COMPARE(&htim3, TIM_CHANNEL_2, 0); // �?3
	__HAL_TIM_SET_COMPARE(&htim3, TIM_CHANNEL_3, 0);
	__HAL_TIM_SET_COMPARE(&htim3, TIM_CHANNEL_4, speed_sizing); // �?4
}

void My_right_vo(void)
{
	__HAL_TIM_SET_COMPARE(&htim2, TIM_CHANNEL_1, speed_sizing); // 顺时针走
	__HAL_TIM_SET_COMPARE(&htim2, TIM_CHANNEL_2, 0);			// �?1
	__HAL_TIM_SET_COMPARE(&htim2, TIM_CHANNEL_3, 0);
	__HAL_TIM_SET_COMPARE(&htim2, TIM_CHANNEL_4, speed_sizing); // �?2
	__HAL_TIM_SET_COMPARE(&htim3, TIM_CHANNEL_1, 0);
	__HAL_TIM_SET_COMPARE(&htim3, TIM_CHANNEL_2, speed_sizing); // �?3
	__HAL_TIM_SET_COMPARE(&htim3, TIM_CHANNEL_3, speed_sizing);
	__HAL_TIM_SET_COMPARE(&htim3, TIM_CHANNEL_4, 0); // �?4
}

void My_stop(void)
{
	__HAL_TIM_SET_COMPARE(&htim2, TIM_CHANNEL_1, 0); // 停止
	__HAL_TIM_SET_COMPARE(&htim2, TIM_CHANNEL_2, 0); // �?1
	__HAL_TIM_SET_COMPARE(&htim2, TIM_CHANNEL_3, 0);
	__HAL_TIM_SET_COMPARE(&htim2, TIM_CHANNEL_4, 0); // �?2
	__HAL_TIM_SET_COMPARE(&htim3, TIM_CHANNEL_1, 0);
	__HAL_TIM_SET_COMPARE(&htim3, TIM_CHANNEL_2, 0); // �?3
	__HAL_TIM_SET_COMPARE(&htim3, TIM_CHANNEL_3, 0);
	__HAL_TIM_SET_COMPARE(&htim3, TIM_CHANNEL_4, 0); // �?4
}

void My_back(void)
{
	__HAL_TIM_SET_COMPARE(&htim2, TIM_CHANNEL_1, speed_sizing); // 直走
	__HAL_TIM_SET_COMPARE(&htim2, TIM_CHANNEL_2, 0);			// �?1
	__HAL_TIM_SET_COMPARE(&htim2, TIM_CHANNEL_3, 0);
	__HAL_TIM_SET_COMPARE(&htim2, TIM_CHANNEL_4, speed_sizing); // �?2
	__HAL_TIM_SET_COMPARE(&htim3, TIM_CHANNEL_1, speed_sizing + 1500);
	__HAL_TIM_SET_COMPARE(&htim3, TIM_CHANNEL_2, 0); // �?3
	__HAL_TIM_SET_COMPARE(&htim3, TIM_CHANNEL_3, 0);
	__HAL_TIM_SET_COMPARE(&htim3, TIM_CHANNEL_4, speed_sizing + 1500); // �?4
}

void HAL_UART_RxCpltCallback(UART_HandleTypeDef *huart)
{
	if (huart == &huart1)
		isAnswerReceived = 1;
}
/* USER CODE END 4 */

void Error_Handler(void)
{
	__disable_irq();
	while (1)
	{
	}
}

/************************ (C) COPYRIGHT STMicroelectronics *****END OF FILE****/
